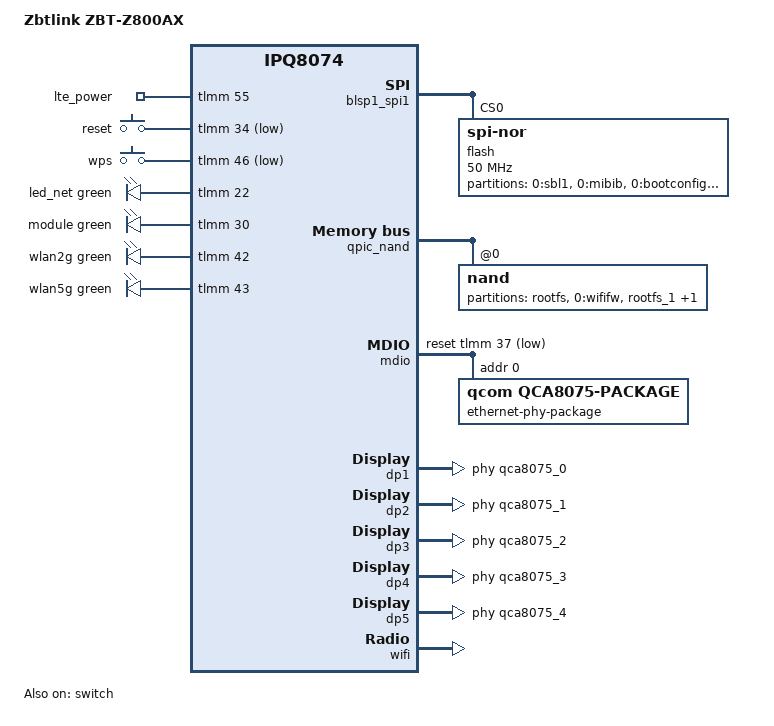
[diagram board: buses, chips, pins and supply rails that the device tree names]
// SPDX-License-Identifier: GPL-2.0-or-later OR MIT

/dts-v1/;

#include "ipq8074.dtsi"
#include "ipq8074-ess.dtsi"
#include "ipq8074-nss.dtsi"
#include "ipq8074-common.dtsi"
#include "ipq8074-hk-cpu.dtsi"

#include <dt-bindings/gpio/gpio.h>
#include <dt-bindings/input/input.h>
#include <dt-bindings/leds/common.h>

/ {
	model = "Zbtlink ZBT-Z800AX";
	compatible = "zbtlink,zbt-z800ax", "qcom,ipq8074";

	aliases {
		serial0 = &blsp1_uart5;

		led-boot = &led_net;
		led-failsafe = &led_net;
		led-running = &led_net;
		led-upgrade = &led_net;

		ethernet0 = &dp1;
		ethernet1 = &dp2;
		ethernet2 = &dp3;
		ethernet3 = &dp4;
		ethernet4 = &dp5;

		label-mac-device = &dp1;
	};

	chosen {
		stdout-path = "serial0:115200n8";
		bootargs-append = " root=/dev/ubiblock0_1";
	};

	gpio-export {
		compatible = "gpio-export";

		lte-power {
			gpio-export,name = "lte_power";
			gpio-export,output = <1>;
			gpios = <&tlmm 55 GPIO_ACTIVE_HIGH>;
		};
	};

	keys {
		compatible = "gpio-keys";

		reset {
			label = "reset";
			linux,code = <KEY_RESTART>;
			gpios = <&tlmm 34 GPIO_ACTIVE_LOW>;
		};

		wps {
			label = "wps";
			linux,code = <KEY_WPS_BUTTON>;
			gpios = <&tlmm 46 GPIO_ACTIVE_LOW>;
		};
	};

	leds {
		compatible = "gpio-leds";

		led_net: net {
			color = <LED_COLOR_ID_GREEN>;
			function = LED_FUNCTION_WAN_ONLINE;
			gpios = <&tlmm 22 GPIO_ACTIVE_HIGH>;
		};

		module {
			color = <LED_COLOR_ID_GREEN>;
			function = LED_FUNCTION_MOBILE;
			gpios = <&tlmm 30 GPIO_ACTIVE_HIGH>;
		};

		wlan2g {
			color = <LED_COLOR_ID_GREEN>;
			function = LED_FUNCTION_WLAN_2GHZ;
			gpios = <&tlmm 42 GPIO_ACTIVE_HIGH>;
			linux,default-trigger = "phy1radio";
		};

		wlan5g {
			color = <LED_COLOR_ID_GREEN>;
			function = LED_FUNCTION_WLAN_5GHZ;
			gpios = <&tlmm 43 GPIO_ACTIVE_HIGH>;
			linux,default-trigger = "phy0radio";
		};
	};
};

&blsp1_spi1 {
	status = "okay";

	flash@0 {
		compatible = "jedec,spi-nor";
		spi-max-frequency = <50000000>;
		reg = <0>;

		partitions {
			compatible = "fixed-partitions";
			#address-cells = <1>;
			#size-cells = <1>;

			partition@0 {
				label = "0:sbl1";
				reg = <0x00000000 0x00050000>;
				read-only;
			};

			partition@50000 {
				label = "0:mibib";
				reg = <0x00050000 0x00010000>;
				read-only;
			};

			partition@60000 {
				label = "0:bootconfig";
				reg = <0x00060000 0x00020000>;
			};

			partition@80000 {
				label = "0:bootconfig1";
				reg = <0x00080000 0x00020000>;
			};

			partition@a0000 {
				label = "0:qsee";
				reg = <0x000a0000 0x00180000>;
				read-only;
			};

			partition@220000 {
				label = "0:qsee_1";
				reg = <0x00220000 0x00180000>;
				read-only;
			};

			partition@3a0000 {
				label = "0:devcfg";
				reg = <0x003a0000 0x00010000>;
				read-only;
			};

			partition@3b0000 {
				label = "0:devcfg_1";
				reg = <0x003b0000 0x00010000>;
				read-only;
			};

			partition@3c0000 {
				label = "0:apdp";
				reg = <0x003c0000 0x00010000>;
				read-only;
			};

			partition@3d0000 {
				label = "0:apdp_1";
				reg = <0x003d0000 0x00010000>;
				read-only;
			};

			partition@3e0000 {
				label = "0:rpm";
				reg = <0x003e0000 0x00040000>;
				read-only;
			};

			partition@420000 {
				label = "0:rpm_1";
				reg = <0x00420000 0x00040000>;
				read-only;
			};

			partition@460000 {
				label = "0:cdt";
				reg = <0x00460000 0x00010000>;
				read-only;
			};

			partition@470000 {
				label = "0:cdt_1";
				reg = <0x00470000 0x00010000>;
				read-only;
			};

			partition@480000 {
				label = "0:appsblenv";
				reg = <0x00480000 0x00010000>;
			};

			partition@490000 {
				label = "0:appsbl";
				reg = <0x00490000 0x000a0000>;
				read-only;
			};

			partition@530000 {
				label = "0:appsbl_1";
				reg = <0x00530000 0x000a0000>;
				read-only;
			};

			partition@5d0000 {
				label = "0:art";
				reg = <0x005d0000 0x00040000>;
				read-only;
			};

			partition@610000 {
				label = "0:ethphyfw";
				reg = <0x00610000 0x00080000>;
				read-only;
			};
		};
	};
};

&qpic_nand {
	status = "okay";

	partitions {
		status = "disabled";
	};

	nand@0 {
		reg = <0>;

		nand-ecc-strength = <8>;
		nand-ecc-step-size = <512>;
		nand-bus-width = <8>;

		partitions {
			compatible = "fixed-partitions";
			#address-cells = <1>;
			#size-cells = <1>;

			partition@0 {
				label = "rootfs";
				reg = <0x00000000 0x03400000>;
			};

			partition@3400000 {
				label = "0:wififw";
				reg = <0x03400000 0x00800000>;
				read-only;
			};

			partition@3c00000 {
				label = "rootfs_1";
				reg = <0x03c00000 0x03400000>;
			};

			partition@7000000 {
				label = "0:wififw_1";
				reg = <0x07000000 0x00800000>;
				read-only;
			};
		};
	};
};

&mdio {
	status = "okay";

	pinctrl-0 = <&mdio_pins>;
	pinctrl-names = "default";
	reset-gpios = <&tlmm 37 GPIO_ACTIVE_LOW>;

	ethernet-phy-package@0 {
		compatible = "qcom,qca8075-package";
		#address-cells = <1>;
		#size-cells = <0>;
		reg = <0>;

		qca8075_0: ethernet-phy@0 {
			compatible = "ethernet-phy-ieee802.3-c22";
			reg = <0>;
		};

		qca8075_1: ethernet-phy@1 {
			compatible = "ethernet-phy-ieee802.3-c22";
			reg = <1>;
		};

		qca8075_2: ethernet-phy@2 {
			compatible = "ethernet-phy-ieee802.3-c22";
			reg = <2>;
		};

		qca8075_3: ethernet-phy@3 {
			compatible = "ethernet-phy-ieee802.3-c22";
			reg = <3>;
		};

		qca8075_4: ethernet-phy@4 {
			compatible = "ethernet-phy-ieee802.3-c22";
			reg = <4>;
		};
	};
};

&switch {
	status = "okay";

	switch_lan_bmp = <(ESS_PORT1 | ESS_PORT2 | ESS_PORT3 | ESS_PORT4)>;
	switch_wan_bmp = <ESS_PORT5>;
	switch_mac_mode = <MAC_MODE_PSGMII>;

	qcom,port_phyinfo {
		port@1 {
			port_id = <1>;
			phy_address = <0>;
		};

		port@2 {
			port_id = <2>;
			phy_address = <1>;
		};

		port@3 {
			port_id = <3>;
			phy_address = <2>;
		};

		port@4 {
			port_id = <4>;
			phy_address = <3>;
		};

		port@5 {
			port_id = <5>;
			phy_address = <4>;
		};
	};
};

&edma {
	status = "okay";
};

&dp1 {
	status = "okay";
	phy-handle = <&qca8075_0>;
	label = "lan1";
};

&dp2 {
	status = "okay";
	phy-handle = <&qca8075_1>;
	label = "lan2";
};

&dp3 {
	status = "okay";
	phy-handle = <&qca8075_2>;
	label = "lan3";
};

&dp4 {
	status = "okay";
	phy-handle = <&qca8075_3>;
	label = "lan4";
};

&dp5 {
	status = "okay";
	phy-handle = <&qca8075_4>;
	label = "wan";
};

&wifi {
	status = "okay";
	qcom,ath11k-fw-memory-mode = <1>;
	qcom,ath11k-calibration-variant = "ZBT-Z800AX";
};
